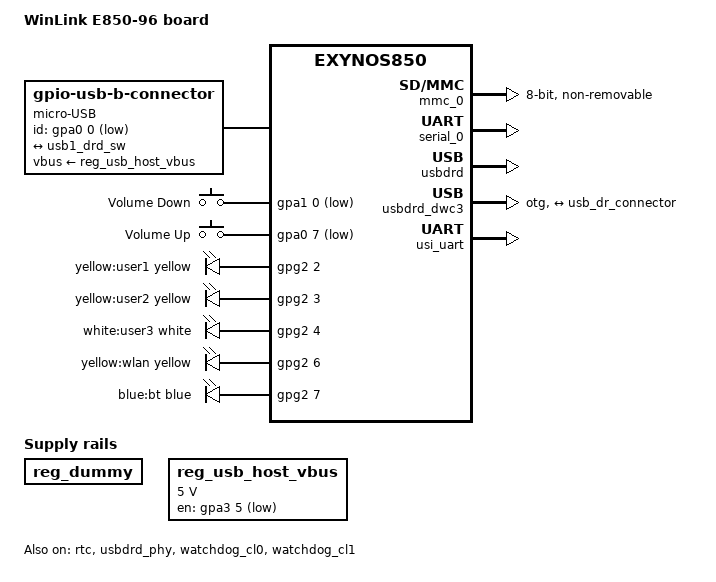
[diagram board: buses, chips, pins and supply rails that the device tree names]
// SPDX-License-Identifier: GPL-2.0
/*
 * WinLink E850-96 board device tree source
 *
 * Copyright (C) 2018 Samsung Electronics Co., Ltd.
 * Copyright (C) 2021 Linaro Ltd.
 *
 * Device tree source file for WinLink's E850-96 board which is based on
 * Samsung Exynos850 SoC.
 */

/dts-v1/;

#include "exynos850.dtsi"
#include <dt-bindings/gpio/gpio.h>
#include <dt-bindings/input/input.h>
#include <dt-bindings/leds/common.h>

/ {
	model = "WinLink E850-96 board";
	compatible = "winlink,e850-96", "samsung,exynos850";

	aliases {
		mmc0 = &mmc_0;
		serial0 = &serial_0;
	};

	chosen {
		stdout-path = &serial_0;
	};

	connector {
		compatible = "gpio-usb-b-connector", "usb-b-connector";
		label = "micro-USB";
		type = "micro";
		vbus-supply = <&reg_usb_host_vbus>;
		id-gpios = <&gpa0 0 GPIO_ACTIVE_LOW>;
		pinctrl-names = "default";
		pinctrl-0 = <&micro_usb_det_pins>;

		port {
			usb_dr_connector: endpoint {
				remote-endpoint = <&usb1_drd_sw>;
			};
		};
	};

	/*
	 * RAM: 4 GiB (eMCP):
	 *   - 2 GiB at 0x80000000
	 *   - 2 GiB at 0x880000000
	 *
	 * 0xbab00000..0xbfffffff: secure memory (85 MiB).
	 */
	memory@80000000 {
		device_type = "memory";
		reg = <0x0 0x80000000 0x3ab00000>,
		      <0x0 0xc0000000 0x40000000>,
		      <0x8 0x80000000 0x80000000>;
	};

	gpio-keys {
		compatible = "gpio-keys";
		pinctrl-names = "default";
		pinctrl-0 = <&key_voldown_pins &key_volup_pins>;

		volume-down-key {
			label = "Volume Down";
			linux,code = <KEY_VOLUMEDOWN>;
			gpios = <&gpa1 0 GPIO_ACTIVE_LOW>;
		};

		volume-up-key {
			label = "Volume Up";
			linux,code = <KEY_VOLUMEUP>;
			gpios = <&gpa0 7 GPIO_ACTIVE_LOW>;
		};
	};

	leds {
		compatible = "gpio-leds";

		/* HEART_BEAT_LED */
		user_led1: led-1 {
			label = "yellow:user1";
			gpios = <&gpg2 2 GPIO_ACTIVE_HIGH>;
			color = <LED_COLOR_ID_YELLOW>;
			function = LED_FUNCTION_HEARTBEAT;
			linux,default-trigger = "heartbeat";
		};

		/* eMMC_LED */
		user_led2: led-2 {
			label = "yellow:user2";
			gpios = <&gpg2 3 GPIO_ACTIVE_HIGH>;
			color = <LED_COLOR_ID_YELLOW>;
			linux,default-trigger = "mmc0";
		};

		/* SD_LED */
		user_led3: led-3 {
			label = "white:user3";
			gpios = <&gpg2 4 GPIO_ACTIVE_HIGH>;
			color = <LED_COLOR_ID_WHITE>;
			function = LED_FUNCTION_SD;
			linux,default-trigger = "mmc2";
		};

		/* WIFI_LED */
		wlan_active_led: led-4 {
			label = "yellow:wlan";
			gpios = <&gpg2 6 GPIO_ACTIVE_HIGH>;
			color = <LED_COLOR_ID_YELLOW>;
			function = LED_FUNCTION_WLAN;
			linux,default-trigger = "phy0tx";
			default-state = "off";
		};

		/* BLUETOOTH_LED */
		bt_active_led: led-5 {
			label = "blue:bt";
			gpios = <&gpg2 7 GPIO_ACTIVE_HIGH>;
			color = <LED_COLOR_ID_BLUE>;
			function = LED_FUNCTION_BLUETOOTH;
			linux,default-trigger = "hci0-power";
			default-state = "off";
		};
	};

	/* TODO: Remove this once PMIC is implemented  */
	reg_dummy: regulator-0 {
		compatible = "regulator-fixed";
		regulator-name = "dummy_reg";
	};

	reg_usb_host_vbus: regulator-1 {
		compatible = "regulator-fixed";
		regulator-name = "usb_host_vbus";
		regulator-min-microvolt = <5000000>;
		regulator-max-microvolt = <5000000>;
		gpio = <&gpa3 5 GPIO_ACTIVE_LOW>;
	};

	reserved-memory {
		#address-cells = <2>;
		#size-cells = <1>;
		ranges;

		ramoops@f0000000 {
			compatible = "ramoops";
			reg = <0x0 0xf0000000 0x200000>;
			record-size = <0x20000>;
			console-size = <0x20000>;
			ftrace-size = <0x100000>;
			pmsg-size = <0x20000>;
		};
	};

	/*
	 * RTC clock (XrtcXTI); external, must be 32.768 kHz.
	 *
	 * TODO: Remove this once RTC clock is implemented properly as part of
	 *       PMIC driver.
	 */
	rtcclk: clock-rtcclk {
		compatible = "fixed-clock";
		clock-output-names = "rtcclk";
		#clock-cells = <0>;
		clock-frequency = <32768>;
	};
};

&cmu_hsi {
	clocks = <&oscclk>, <&rtcclk>,
		 <&cmu_top CLK_DOUT_HSI_BUS>,
		 <&cmu_top CLK_DOUT_HSI_MMC_CARD>,
		 <&cmu_top CLK_DOUT_HSI_USB20DRD>;
	clock-names = "oscclk", "rtcclk", "dout_hsi_bus",
		      "dout_hsi_mmc_card", "dout_hsi_usb20drd";
};

&mmc_0 {
	status = "okay";
	mmc-hs200-1_8v;
	mmc-hs400-1_8v;
	cap-mmc-highspeed;
	non-removable;
	mmc-hs400-enhanced-strobe;
	card-detect-delay = <200>;
	clock-frequency = <800000000>;
	bus-width = <8>;
	samsung,dw-mshc-ciu-div = <3>;
	samsung,dw-mshc-sdr-timing = <0 4>;
	samsung,dw-mshc-ddr-timing = <2 4>;
	samsung,dw-mshc-hs400-timing = <0 2>;

	pinctrl-names = "default";
	pinctrl-0 = <&sd0_clk_pins &sd0_cmd_pins &sd0_rdqs_pins &sd0_nreset_pins
		     &sd0_bus1_pins &sd0_bus4_pins &sd0_bus8_pins>;
};

&oscclk {
	clock-frequency = <26000000>;
};

&pinctrl_alive {
	key_voldown_pins: key-voldown-pins {
		samsung,pins = "gpa1-0";
		samsung,pin-function = <EXYNOS_PIN_FUNC_EINT>;
		samsung,pin-pud = <EXYNOS_PIN_PULL_NONE>;
		samsung,pin-drv = <EXYNOS5420_PIN_DRV_LV1>;
	};

	key_volup_pins: key-volup-pins {
		samsung,pins = "gpa0-7";
		samsung,pin-function = <EXYNOS_PIN_FUNC_EINT>;
		samsung,pin-pud = <EXYNOS_PIN_PULL_NONE>;
		samsung,pin-drv = <EXYNOS5420_PIN_DRV_LV1>;
	};

	micro_usb_det_pins: micro-usb-det-pins {
		samsung,pins = "gpa0-0";
		samsung,pin-function = <EXYNOS_PIN_FUNC_INPUT>;
		samsung,pin-pud = <EXYNOS_PIN_PULL_NONE>;
	};
};

&rtc {
	status = "okay";
	clocks = <&cmu_apm CLK_GOUT_RTC_PCLK>, <&rtcclk>;
	clock-names = "rtc", "rtc_src";
};

&serial_0 {
	status = "okay";
	pinctrl-names = "default";
	pinctrl-0 = <&uart1_pins>;
};

&usbdrd {
	status = "okay";
	vdd10-supply = <&reg_dummy>;
	vdd33-supply = <&reg_dummy>;
};

&usbdrd_dwc3 {
	dr_mode = "otg";
	usb-role-switch;
	role-switch-default-mode = "host";

	port {
		usb1_drd_sw: endpoint {
			remote-endpoint = <&usb_dr_connector>;
		};
	};
};

&usbdrd_phy {
	status = "okay";
};

&usi_uart {
	samsung,clkreq-on; /* needed for UART mode */
	status = "okay";
};

&watchdog_cl0 {
	status = "okay";
};

&watchdog_cl1 {
	status = "okay";
};
